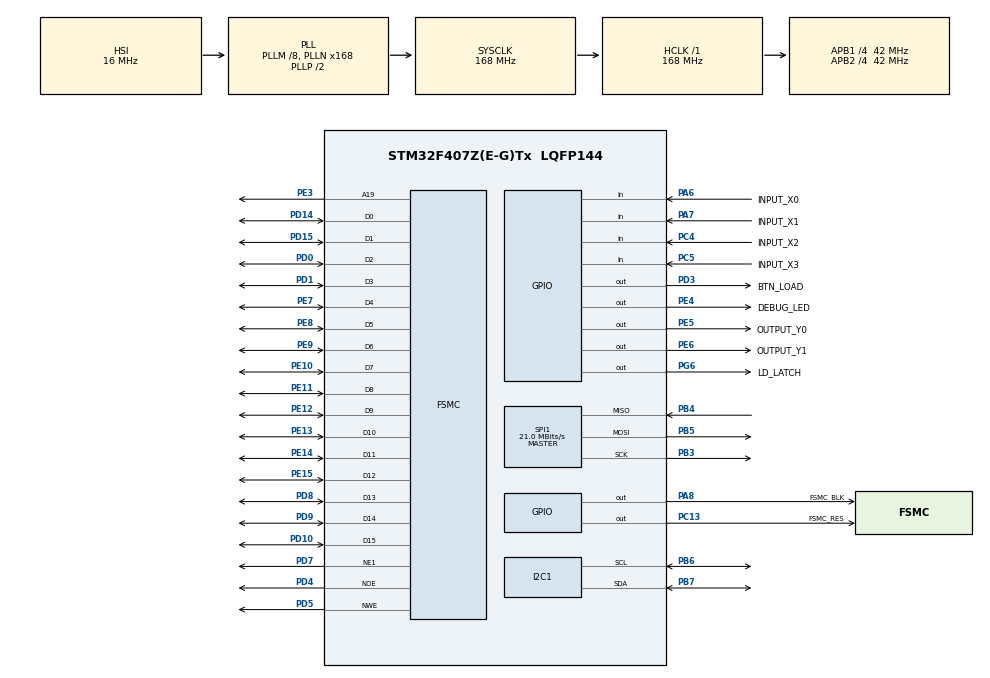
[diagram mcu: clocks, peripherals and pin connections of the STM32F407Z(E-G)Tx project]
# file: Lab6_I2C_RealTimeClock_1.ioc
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FSMC.AddressSetupTime1=0xf
FSMC.BusTurnAroundDuration1=0
FSMC.DataSetupTime1=60
FSMC.ExtendedAddressSetupTime1=8
FSMC.ExtendedBusTurnAroundDuration1=0
FSMC.ExtendedDataSetupTime1=9
FSMC.ExtendedMode1=FSMC_EXTENDED_MODE_ENABLE
I2C1.GeneralCallMode=I2C_GENERALCALL_DISABLE
I2C1.I2C_Mode=I2C_Standard
Mcu.Family=STM32F4
Mcu.Name=STM32F407Z(E-G)Tx
Mcu.Package=LQFP144
NVIC.PriorityGroup=NVIC_PRIORITYGROUP_4
NVIC.TIM2_IRQn=true\:0\:0\:false\:false\:true\:true\:true\:true
NVIC.TIM4_IRQn=true\:0\:0\:false\:false\:true\:true\:true\:true
PA13.Mode=Serial_Wire
PA13.Signal=SYS_JTMS-SWDIO
PA14.Mode=Serial_Wire
PA14.Signal=SYS_JTCK-SWCLK
PA6.GPIO_Label=INPUT_X0
PA6.Signal=GPIO_Input
PA7.GPIO_Label=INPUT_X1
PA7.Signal=GPIO_Input
PA8.GPIO_Label=FSMC_BLK
PA8.Signal=GPIO_Output
PB3.Mode=Full_Duplex_Master
PB3.Signal=SPI1_SCK
PB4.Mode=Full_Duplex_Master
PB4.Signal=SPI1_MISO
PB5.Mode=Full_Duplex_Master
PB5.Signal=SPI1_MOSI
PB6.Mode=I2C
PB6.Signal=I2C1_SCL
PB7.Mode=I2C
PB7.Signal=I2C1_SDA
PC13-ANTI_TAMP.GPIO_Label=FSMC_RES
PC13-ANTI_TAMP.Signal=GPIO_Output
PC4.GPIO_Label=INPUT_X2
PC4.Signal=GPIO_Input
PC5.GPIO_Label=INPUT_X3
PC5.Signal=GPIO_Input
PD0.Signal=FSMC_D2_DA2
PD1.Signal=FSMC_D3_DA3
PD10.Signal=FSMC_D15_DA15
PD14.Signal=FSMC_D0_DA0
PD15.Signal=FSMC_D1_DA1
PD3.GPIO_Label=BTN_LOAD
PD3.Signal=GPIO_Output
PD4.Signal=FSMC_NOE
PD5.Signal=FSMC_NWE
PD7.Mode=NorPsramChipSelect1_1
PD7.Signal=FSMC_NE1
PD8.Signal=FSMC_D13_DA13
PD9.Signal=FSMC_D14_DA14
PE10.Signal=FSMC_D7_DA7
PE11.Signal=FSMC_D8_DA8
PE12.Signal=FSMC_D9_DA9
PE13.Signal=FSMC_D10_DA10
PE14.Signal=FSMC_D11_DA11
PE15.Signal=FSMC_D12_DA12
PE3.Signal=FSMC_A19
PE4.GPIO_Label=DEBUG_LED
PE4.Signal=GPIO_Output
PE5.GPIO_Label=OUTPUT_Y0
PE5.Signal=GPIO_Output
PE6.GPIO_Label=OUTPUT_Y1
PE6.Signal=GPIO_Output
PE7.Signal=FSMC_D4_DA4
PE8.Signal=FSMC_D5_DA5
PE9.Signal=FSMC_D6_DA6
PG6.GPIO_Label=LD_LATCH
PG6.Signal=GPIO_Output
PH0-OSC_IN.Mode=HSE-External-Oscillator
PH0-OSC_IN.Signal=RCC_OSC_IN
PH1-OSC_OUT.Mode=HSE-External-Oscillator
PH1-OSC_OUT.Signal=RCC_OSC_OUT
ProjectManager.HeapSize=0x200
ProjectManager.StackSize=0x400
ProjectManager.TargetToolchain=STM32CubeIDE
RCC.48MHZClocksFreq_Value=84000000
RCC.AHBFreq_Value=168000000
RCC.APB1CLKDivider=RCC_HCLK_DIV4
RCC.APB1Freq_Value=42000000
RCC.APB1TimFreq_Value=84000000
RCC.APB2CLKDivider=RCC_HCLK_DIV4
RCC.APB2Freq_Value=42000000
RCC.APB2TimFreq_Value=84000000
RCC.CortexFreq_Value=168000000
RCC.HCLKFreq_Value=168000000
RCC.HSE_VALUE=8000000
RCC.HSI_VALUE=16000000
RCC.LSE_VALUE=32768
RCC.PLLM=8
RCC.PLLN=168
RCC.SYSCLKFreq_VALUE=168000000
RCC.SYSCLKSource=RCC_SYSCLKSOURCE_PLLCLK
RCC.VCOOutputFreq_Value=336000000
SH.FSMC_A19.0=FSMC_A19,A19_1
SH.FSMC_D0_DA0.0=FSMC_D0,16b-d1
SH.FSMC_D10_DA10.0=FSMC_D10,16b-d1
SH.FSMC_D11_DA11.0=FSMC_D11,16b-d1
SH.FSMC_D12_DA12.0=FSMC_D12,16b-d1
SH.FSMC_D13_DA13.0=FSMC_D13,16b-d1
SH.FSMC_D14_DA14.0=FSMC_D14,16b-d1
SH.FSMC_D15_DA15.0=FSMC_D15,16b-d1
SH.FSMC_D1_DA1.0=FSMC_D1,16b-d1
SH.FSMC_D2_DA2.0=FSMC_D2,16b-d1
SH.FSMC_D3_DA3.0=FSMC_D3,16b-d1
SH.FSMC_D4_DA4.0=FSMC_D4,16b-d1
SH.FSMC_D5_DA5.0=FSMC_D5,16b-d1
SH.FSMC_D6_DA6.0=FSMC_D6,16b-d1
SH.FSMC_D7_DA7.0=FSMC_D7,16b-d1
SH.FSMC_D8_DA8.0=FSMC_D8,16b-d1
SH.FSMC_D9_DA9.0=FSMC_D9,16b-d1
SH.FSMC_NOE.0=FSMC_NOE,Lcd1
SH.FSMC_NWE.0=FSMC_NWE,Lcd1
SPI1.BaudRatePrescaler=SPI_BAUDRATEPRESCALER_2
SPI1.CalculateBaudRate=21.0 MBits/s
SPI1.Direction=SPI_DIRECTION_2LINES
SPI1.Mode=SPI_MODE_MASTER
SPI1.VirtualType=VM_MASTER
TIM2.Period=100-1
TIM2.Prescaler=840-1
TIM4.Period=100-1
TIM4.Prescaler=840-1
VP_TIM2_VS_ClockSourceINT.Mode=Internal
VP_TIM4_VS_ClockSourceINT.Mode=Internal
board=custom

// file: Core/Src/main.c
/* USER CODE BEGIN Header */
/**
 ******************************************************************************
 * @file           : main.c
 * @brief          : Main program body
 ******************************************************************************
 * @attention
 *
 * <h2><center>&copy; Copyright (c) 2023 STMicroelectronics.
 * All rights reserved.</center></h2>
 *
 * This software component is licensed by ST under BSD 3-Clause license,
 * the "License"; You may not use this file except in compliance with the
 * License. You may obtain a copy of the License at:
 *                        opensource.org/licenses/BSD-3-Clause
 *
 ******************************************************************************
 */
/* USER CODE END Header */
#include "main.h"
#include "i2c.h"
#include "spi.h"
#include "tim.h"
#include "gpio.h"
#include "fsmc.h"

/* USER CODE BEGIN Includes */
#include "software_timer.h"
#include "lcd.h"
#include "ds3231.h"
#include "button.h"
/* USER CODE END Includes */

/* USER CODE BEGIN PD */
#define INIT_SYSTEM     0
#define SET_HOUR        1
#define SET_MINUTE      2
#define SET_DAY         3
#define SET_DATE        4
#define SET_MONTH       5
#define SET_YEAR        6
/* USER CODE END PD */

/* USER CODE BEGIN PV */
int statusSetupTime = INIT_SYSTEM;
int timeBlink = 0;
/* USER CODE END PV */

void SystemClock_Config(void);
/* USER CODE BEGIN PFP */
void system_init();
void DisplayTime();
void UpdateTime();
unsigned char IsButtonMode();
unsigned char IsButtonUp();
unsigned char IsButtonDown();
void SetHour();
void SetMinute();
void SetDay();
void SetDate();
void SetMonth();
void SetYear();
void SetUpTime();
/* USER CODE END PFP */

int main(void) {

	/* MCU Configuration--------------------------------------------------------*/

	/* Reset of all peripherals, Initializes the Flash interface and the Systick. */
	HAL_Init();

	/* Configure the system clock */
	SystemClock_Config();

	/* Initialize all configured peripherals */
	MX_GPIO_Init();
	MX_TIM2_Init();
	MX_SPI1_Init();
	MX_FSMC_Init();
	MX_I2C1_Init();
	MX_TIM4_Init();
	/* USER CODE BEGIN 2 */
	system_init();
	/* USER CODE END 2 */

	/* Infinite loop */
	/* USER CODE BEGIN WHILE */
	lcd_clear(BLACK);
	UpdateTime();

	while (1) {
		while (!timer2_flag)
			;
		timer2_flag = 0;

		ds3231_read_time();

		DisplayTime();
		SetUpTime();
    /* USER CODE END WHILE */

	}
}

void SystemClock_Config(void) {
	RCC_OscInitTypeDef RCC_OscInitStruct = { 0 };
	RCC_ClkInitTypeDef RCC_ClkInitStruct = { 0 };

	/** Configure the main internal regulator output voltage
	 */
	__HAL_RCC_PWR_CLK_ENABLE();
	__HAL_PWR_VOLTAGESCALING_CONFIG(PWR_REGULATOR_VOLTAGE_SCALE1);

	/** Initializes the RCC Oscillators according to the specified parameters
	 * in the RCC_OscInitTypeDef structure.
	 */
	RCC_OscInitStruct.OscillatorType = RCC_OSCILLATORTYPE_HSI;
	RCC_OscInitStruct.HSIState = RCC_HSI_ON;
	RCC_OscInitStruct.HSICalibrationValue = RCC_HSICALIBRATION_DEFAULT;
	RCC_OscInitStruct.PLL.PLLState = RCC_PLL_ON;
	RCC_OscInitStruct.PLL.PLLSource = RCC_PLLSOURCE_HSI;
	RCC_OscInitStruct.PLL.PLLM = 8;
	RCC_OscInitStruct.PLL.PLLN = 168;
	RCC_OscInitStruct.PLL.PLLP = RCC_PLLP_DIV2;
	RCC_OscInitStruct.PLL.PLLQ = 4;
	if (HAL_RCC_OscConfig(&RCC_OscInitStruct) != HAL_OK) {
		Error_Handler();
	}

	/** Initializes the CPU, AHB and APB buses clocks
	 */
	RCC_ClkInitStruct.ClockType = RCC_CLOCKTYPE_HCLK | RCC_CLOCKTYPE_SYSCLK
			| RCC_CLOCKTYPE_PCLK1 | RCC_CLOCKTYPE_PCLK2;
	RCC_ClkInitStruct.SYSCLKSource = RCC_SYSCLKSOURCE_PLLCLK;
	RCC_ClkInitStruct.AHBCLKDivider = RCC_SYSCLK_DIV1;
	RCC_ClkInitStruct.APB1CLKDivider = RCC_HCLK_DIV4;
	RCC_ClkInitStruct.APB2CLKDivider = RCC_HCLK_DIV4;

	if (HAL_RCC_ClockConfig(&RCC_ClkInitStruct, FLASH_LATENCY_5) != HAL_OK) {
		Error_Handler();
	}
}

/* USER CODE BEGIN 4 */
void system_init() {
	HAL_GPIO_WritePin(OUTPUT_Y0_GPIO_Port, OUTPUT_Y0_Pin, 0);
	HAL_GPIO_WritePin(OUTPUT_Y1_GPIO_Port, OUTPUT_Y1_Pin, 0);
	HAL_GPIO_WritePin(DEBUG_LED_GPIO_Port, DEBUG_LED_Pin, 0);

	lcd_init();
	ds3231_init();

	timer2_init();
	timer2_set(50);
}

void UpdateTime() {
	ds3231_write(ADDRESS_YEAR, 23);
	ds3231_write(ADDRESS_MONTH, 10);
	ds3231_write(ADDRESS_DATE, 20);
	ds3231_write(ADDRESS_DAY, 6);
	ds3231_write(ADDRESS_HOUR, 20);
	ds3231_write(ADDRESS_MIN, 11);
	ds3231_write(ADDRESS_SEC, 23);
}

void DisplayTime()
{
	if(statusSetupTime == INIT_SYSTEM) ds3231_read_time();
	if(statusSetupTime != SET_HOUR || (statusSetupTime == SET_HOUR && timeBlink >= 5)){
		lcd_show_int_num(70, 100, ds3231_hours/10, 1, GREEN, BLACK, 24);
		lcd_show_int_num(83, 100, ds3231_hours%10, 1, GREEN, BLACK, 24);
	}

	lcd_show_char(96, 100, ':', GREEN, BLACK, 24, 0);
	lcd_show_int_num(110, 100, ds3231_min/10, 1, GREEN, BLACK, 24);
	lcd_show_int_num(123, 100, ds3231_min%10, 1, GREEN, BLACK, 24);
	lcd_show_char(136, 100, ':', GREEN, BLACK, 24, 0);
	lcd_show_int_num(150, 100, ds3231_sec/10, 1, GREEN, BLACK, 24);
	lcd_show_int_num(163, 100, ds3231_sec%10, 1, GREEN, BLACK, 24);

    //////day
    switch(ds3231_day)
    {
        case 1:
        	lcd_show_string(20, 130, "SUN", YELLOW, BLACK, 24, 0);
            break;
        case 2:
        	lcd_show_string(20, 130, "MON", YELLOW, BLACK, 24, 0);
            break;
        case 3:
        	lcd_show_string(20, 130, "TUE", YELLOW, BLACK, 24, 0);
            break;
        case 4:
        	lcd_show_string(20, 130, "WED", YELLOW, BLACK, 24, 0);
            break;
        case 5:
        	lcd_show_string(20, 130, "THU", YELLOW, BLACK, 24, 0);
            break;
        case 6:
        	lcd_show_string(20, 130, "FRI", YELLOW, BLACK, 24, 0);
            break;
        case 7:
        	lcd_show_string(20, 130, "SAT", YELLOW, BLACK, 24, 0);
            break;
    }

    switch(ds3231_month)
    {
        case 1:
        	lcd_show_string(105, 130, "JAN", YELLOW, BLACK, 24, 0);
            break;
        case 2:
        	lcd_show_string(105, 130, "FEB", YELLOW, BLACK, 24, 0);
            break;
        case 3:
        	lcd_show_string(105, 130, "MAR", YELLOW, BLACK, 24, 0);
            break;
        case 4:
        	lcd_show_string(105, 130, "APR", YELLOW, BLACK, 24, 0);
            break;
        case 5:
        	lcd_show_string(105, 130, "MAY", YELLOW, BLACK, 24, 0);
            break;
        case 6:
        	lcd_show_string(105, 130, "JUN", YELLOW, BLACK, 24, 0);
            break;
        case 7:
        	lcd_show_string(105, 130, "JUL", YELLOW, BLACK, 24, 0);
            break;
        case 8:
        	lcd_show_string(105, 130, "AUG", YELLOW, BLACK, 24, 0);
            break;
        case 9:
        	lcd_show_string(105, 130, "SEP", YELLOW, BLACK, 24, 0);
            break;
        case 10:
        	lcd_show_string(105, 130, "OCT", YELLOW, BLACK, 24, 0);
            break;
        case 11:
        	lcd_show_string(105, 130, "NOV", YELLOW, BLACK, 24, 0);
            break;
        case 12:
        	lcd_show_string(105, 130, "DEC", YELLOW, BLACK, 24, 0);
            break;
    }

    lcd_show_int_num(70, 130, ds3231_date, 2, YELLOW, BLACK, 24);

	lcd_show_int_num(150, 130, 20, 2, YELLOW, BLACK, 24);
	lcd_show_int_num(176, 130, ds3231_year, 2, YELLOW, BLACK, 24);

}

void SetUpTime()
{
    switch(statusSetupTime)
    {
        case INIT_SYSTEM:
            if(IsButtonMode())
                statusSetupTime = SET_HOUR;
            break;
        case SET_HOUR:
            SetHour();
            if(IsButtonMode())
                statusSetupTime = SET_MINUTE;
            break;
        case SET_MINUTE:
            SetMinute();
            if(IsButtonMode())
                statusSetupTime = SET_DAY;
            break;
        case SET_DAY:
            SetDay();
            if(IsButtonMode())
                statusSetupTime = SET_DATE;
            break;
        case SET_DATE:
            SetDate();
            if(IsButtonMode())
                statusSetupTime = SET_MONTH;
            break;
        case SET_MONTH:
            SetMonth();
            if(IsButtonMode())
                statusSetupTime = SET_YEAR;
            break;
        case SET_YEAR:
            SetYear();
            if(IsButtonMode())
                statusSetupTime = INIT_SYSTEM;
            break;
        default:
            statusSetupTime = INIT_SYSTEM;
            break;

    }
}
//
unsigned char IsButtonMode()
{
    if (button_count[4] == 1)
        return 1;
    else
        return 0;
}

unsigned char IsButtonUp()
{
    if ((button_count[5] == 1) || (button_count[5] >= 10 && button_count[5]%4 == 0))
        return 1;
    else
        return 0;
}

unsigned char IsButtonDown()
{
    if ((button_count[9] == 1) || (button_count[9] >= 10 && button_count[9]%4 == 0))
        return 1;
    else
        return 0;
}

void SetHour()
{
    timeBlink = (timeBlink + 1)%20;
    if(timeBlink < 5)
    	lcd_show_string(70, 100, "  ", GREEN, BLACK, 24, 0);
    if(IsButtonUp())
    {
        ds3231_hours++;
        if(ds3231_hours > 23)
            ds3231_hours = 0;
        ds3231_write(ADDRESS_HOUR, ds3231_hours);
    }
    if(IsButtonDown())
    {
        ds3231_hours--;
        if(ds3231_hours < 0)
            ds3231_hours = 23;
        ds3231_write(ADDRESS_HOUR, ds3231_hours);
    }
}
void SetMinute()
{

}
void SetDay()
{
}
void SetDate()
{
}
void SetMonth()
{
}
void SetYear()
{
}
/* USER CODE END 4 */

void Error_Handler(void) {
	__disable_irq();
	while (1) {
	}
}
